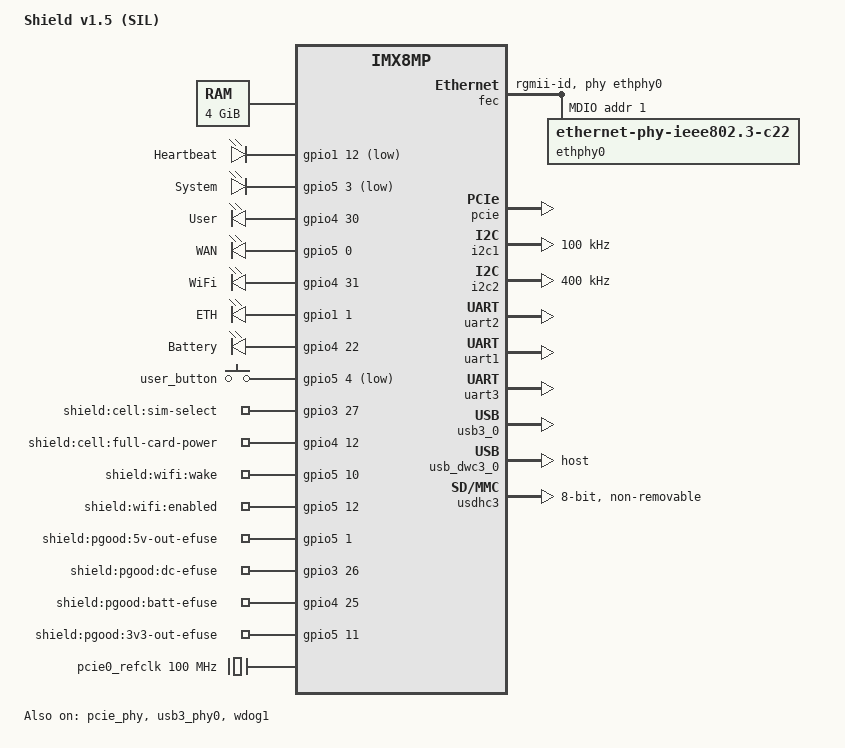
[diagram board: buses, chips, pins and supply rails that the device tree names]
// SPDX-License-Identifier: (GPL-2.0+ OR MIT)
/*
 * Shield (v1.5) as emulated by the SIL on QEMU's i.MX 8M Plus.
 *
 * Interfaces and names follow Shield: eMMC on uSDHC3 (mmcblk2), console on
 * UART2, the TPS25751 USB-C PD controller at 0x20 on I2C2 (/dev/i2c-1, the
 * BQ25792 charger sits behind it), front-panel LEDs (gpio-leds), the button
 * (gpio-keys, BTN_0) and the named GPIOs (gpio-line-names).
 *
 * The LED, button and named GPIO pins are Shield's (from its device tree);
 * the SIL wires them to its models through QEMU's sil-gpio-bridge
 * (src/shield_sil/imx8mp.py has the same table). Shield's second GbE (EQoS) is a PCIe NIC here, because QEMU
 * does not model the EQoS.
 */

/dts-v1/;

#include <dt-bindings/gpio/gpio.h>
#include <dt-bindings/input/input.h>
#include <dt-bindings/leds/common.h>
#include <dt-bindings/phy/phy-imx8-pcie.h>
#include "imx8mp.dtsi"

/ {
	model = "Shield v1.5 (SIL)";
	compatible = "ddna,shield-sil", "fsl,imx8mp";

	chosen {
		stdout-path = &uart2;
	};

	memory@40000000 {
		device_type = "memory";
		reg = <0x0 0x40000000 0 0xc0000000>,
		      <0x1 0x00000000 0 0x40000000>;
	};

	/* Front-panel LEDs on Shield's pins. Shield drives them with pwm-gpio and
	 * pwm-leds (max_brightness 255); the upstream OpenWrt kernels have no
	 * pwm-gpio, and a software PWM would toggle each pin through the GPIO
	 * bridge thousands of times a second, so the SIL uses gpio-leds on the
	 * same pins (max_brightness 1). */
	leds {
		compatible = "gpio-leds";

		led-0 {
			label = "Heartbeat";
			gpios = <&gpio1 12 GPIO_ACTIVE_LOW>;
			linux,default-trigger = "heartbeat";
		};
		led-1 {
			label = "System";
			gpios = <&gpio5 3 GPIO_ACTIVE_LOW>;
			default-state = "on";
			linux,default-trigger = "default-on";
		};
		led-2 {
			label = "User";
			gpios = <&gpio4 30 GPIO_ACTIVE_HIGH>;
			default-state = "off";
		};
		led-3 {
			label = "WAN";
			gpios = <&gpio5 0 GPIO_ACTIVE_HIGH>;
			default-state = "off";
		};
		led-4 {
			label = "WiFi";
			gpios = <&gpio4 31 GPIO_ACTIVE_HIGH>;
			default-state = "off";
		};
		led-5 {
			label = "ETH";
			gpios = <&gpio1 1 GPIO_ACTIVE_HIGH>;
			default-state = "off";
		};
		led-6 {
			label = "Battery";
			gpios = <&gpio4 22 GPIO_ACTIVE_HIGH>;
			default-state = "off";
		};
	};

	/* Front-panel button, as on Shield: GPIO5_IO04, active low. */
	gpio-keys {
		compatible = "gpio-keys";
		/* Input device name; the SIL uses the same one on every machine. */
		label = "Front-panel button";

		button-0 {
			label = "user_button";
			linux,code = <BTN_0>;
			gpios = <&gpio5 4 GPIO_ACTIVE_LOW>;
			debounce-interval = <50>;
		};
	};

	/* Named GPIOs as on Shield: OpenWrt's gpio-export driver presents them as
	 * /sys/class/gpio/<name>, which Shield's scripts use. Kernels without it
	 * (Ubuntu) ignore these nodes and find the lines by gpio-line-names.
	 * Shield's current tree drives the Wi-Fi enable pin (GPIO5_IO12) with
	 * rfkill-gpio; the SIL exports it as shield:wifi:enabled, the name Shield's
	 * documentation uses. */
	shield-gpio-export {
		compatible = "gpio-export";

		sim-select {
			gpio-export,name = "shield:cell:sim-select";
			gpio-export,output = <0>;
			gpios = <&gpio3 27 GPIO_ACTIVE_HIGH>;
		};
		full-card-power {
			gpio-export,name = "shield:cell:full-card-power";
			gpio-export,output = <1>;
			gpios = <&gpio4 12 GPIO_ACTIVE_HIGH>;
		};
		wifi-wake {
			gpio-export,name = "shield:wifi:wake";
			gpio-export,output = <1>;
			gpios = <&gpio5 10 GPIO_ACTIVE_HIGH>;
		};
		wifi-enabled {
			gpio-export,name = "shield:wifi:enabled";
			gpio-export,output = <1>;
			gpios = <&gpio5 12 GPIO_ACTIVE_HIGH>;
		};
		pgood-5v-out-efuse {
			gpio-export,name = "shield:pgood:5v-out-efuse";
			gpio-export,input = <0>;
			gpios = <&gpio5 1 GPIO_ACTIVE_HIGH>;
		};
		pgood-dc-efuse {
			gpio-export,name = "shield:pgood:dc-efuse";
			gpio-export,input = <0>;
			gpios = <&gpio3 26 GPIO_ACTIVE_HIGH>;
		};
		pgood-batt-efuse {
			gpio-export,name = "shield:pgood:batt-efuse";
			gpio-export,input = <0>;
			gpios = <&gpio4 25 GPIO_ACTIVE_HIGH>;
		};
		pgood-3v3-out-efuse {
			gpio-export,name = "shield:pgood:3v3-out-efuse";
			gpio-export,input = <0>;
			gpios = <&gpio5 11 GPIO_ACTIVE_HIGH>;
		};
	};

	pcie0_refclk: clock-pcie {
		compatible = "fixed-clock";
		#clock-cells = <0>;
		clock-frequency = <100000000>;
	};
};

/* No CPU power-down idle state: QEMU does not power a core off in WFI, so a
 * core that TF-A parks for cpu-pd-wait (PSCI CPU_SUSPEND) never comes back.
 * Idle cores use plain WFI. (The 7.0 dtsi lists the state; 6.6 and 6.12 do not.) */
&A53_0 {
	/delete-property/ cpu-idle-states;
};

&A53_1 {
	/delete-property/ cpu-idle-states;
};

&A53_2 {
	/delete-property/ cpu-idle-states;
};

&A53_3 {
	/delete-property/ cpu-idle-states;
};

/* Named GPIO lines (libgpiod), on Shield's pins. */
&gpio3 {
	gpio-line-names =
		"", "", "", "",
		"", "", "", "",
		"", "", "", "",
		"", "", "", "",
		"", "", "", "",
		"", "", "", "",
		"", "", "shield:pgood:dc-efuse", "shield:cell:sim-select",
		"", "", "", "";
};

&gpio4 {
	gpio-line-names =
		"", "", "", "",
		"", "", "", "",
		"", "", "", "",
		"shield:cell:full-card-power", "", "", "",
		"", "", "", "",
		"", "", "", "",
		"", "shield:pgood:batt-efuse", "", "",
		"", "", "", "";
};

&gpio5 {
	gpio-line-names =
		"", "shield:pgood:5v-out-efuse", "", "",
		"", "", "", "",
		"", "", "shield:wifi:wake", "shield:pgood:3v3-out-efuse",
		"shield:wifi:enabled", "", "", "",
		"", "", "", "",
		"", "", "", "",
		"", "", "", "",
		"", "", "", "";
};

/* LAN: the FEC, PHY at address 1. */
&fec {
	phy-mode = "rgmii-id";
	phy-handle = <&ethphy0>;
	status = "okay";

	mdio {
		#address-cells = <1>;
		#size-cells = <0>;

		ethphy0: ethernet-phy@1 {
			compatible = "ethernet-phy-ieee802.3-c22";
			reg = <1>;
		};
	};
};

/* WAN: Shield's EQoS port, a PCIe NIC on the SIL. */
&pcie_phy {
	fsl,refclk-pad-mode = <IMX8_PCIE_REFCLK_PAD_INPUT>;
	clocks = <&pcie0_refclk>;
	clock-names = "ref";
	status = "okay";
};

&pcie {
	status = "okay";
};

/* SoM bus, /dev/i2c-0 (no devices modelled). */
&i2c1 {
	clock-frequency = <100000>;
	status = "okay";
};

/* USB-C PD controller (TPS25751), used from userspace through /dev/i2c-1.
 * Shield also has its EEPROM (0x50), HD3SS3220 (0x67) and RTC (0x69) here;
 * the SIL does not model them. */
&i2c2 {
	clock-frequency = <400000>;
	status = "okay";
};

/* Console */
&uart2 {
	status = "okay";
};

/* SIL hardware bus (host <-> guest agent), not a Shield interface.
 * No DMA: QEMU does not model the SDMA engine, so imx-uart would hand
 * received bytes to a DMA channel that never runs and the bus would stall
 * after the first frames. Interrupt-driven RX works on the emulated UART. */
&uart1 {
	/delete-property/ dmas;
	/delete-property/ dma-names;
	status = "okay";
};

&uart3 {
	/delete-property/ dmas;
	/delete-property/ dma-names;
	status = "okay";
};

/* USB host. The EM7595 modem is a USB device on Shield; in the SIL it
 * arrives over USB/IP on the management link instead. */
&usb3_phy0 {
	status = "okay";
};

&usb3_0 {
	status = "okay";
};

&usb_dwc3_0 {
	dr_mode = "host";
	status = "okay";
};

/* 32 GB eMMC */
&usdhc3 {
	bus-width = <8>;
	non-removable;
	status = "okay";
};

&wdog1 {
	status = "okay";
};
